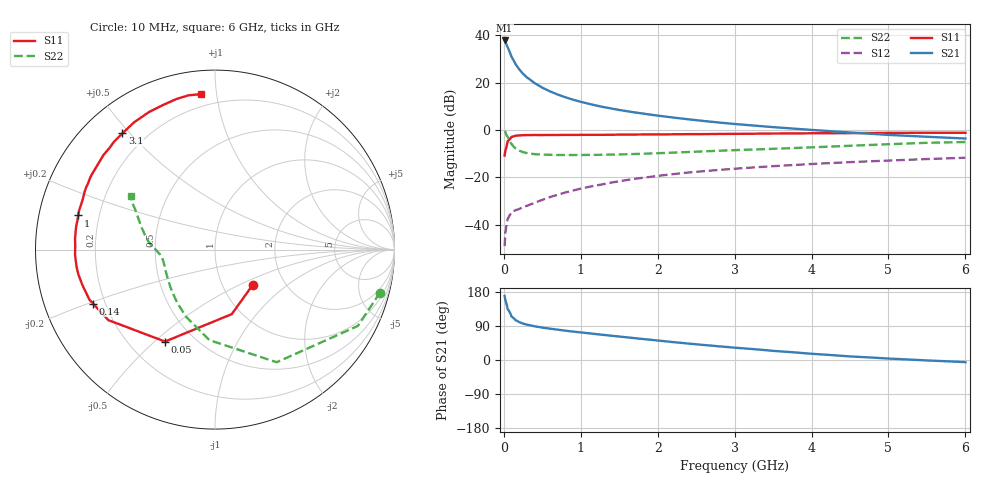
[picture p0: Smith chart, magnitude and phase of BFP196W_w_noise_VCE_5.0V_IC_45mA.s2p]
! Infineon Technologies  Discrete & RF Semiconductors
! BFP196W
! VCE =  5.0 V,  IC =  45 mA
! Common Emitter S-Parameters:  Jan 2017
# GHz  S  MA  R  50
!  f  S11  S21  S12  S22
! GHz  MAG  ANG  MAG  ANG  MAG  ANG  MAG  ANG
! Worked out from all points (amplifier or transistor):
!   77 points, 10 MHz to 6 GHz, reference 50 ohm
!   highest |S21| = 37.8 dB at 10 MHz (marker M1)
!   |S21| within 3 dB of that: start of sweep to 51.63 MHz
!   unconditionally stable (mu >= 1): 695.6 MHz to 3.282 GHz
!   at 130 MHz: K = 0.40, MSG = 31.8 dB, |S12| = -34.3 dB
!   at 2.2 GHz: K = 1.04, MAG = 10.7 dB, |S12| = -18.7 dB
!   at 6 GHz: K = 0.94, MSG = 4.1 dB, |S12| = -11.7 dB
!   lowest NFmin = 1.31 dB at 450 MHz
!   S11 on the Smith chart (normalised r, x): 10 MHz: 1.38, -0.59; 50 MHz: 0.35, -0.54; 140 MHz: 0.15, -0.21; 1 GHz: 0.12, +0.12; 3.1 GHz: 0.12, +0.48; 6 GHz: 0.13, +0.91
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0.01  0.2879 -43.3  77.67 169.1  0.0035 80.4  0.9502 -14.6
0.02  0.3714 -75.4  73.51 157.9  0.0068 75.9  0.9025 -28.1
0.05  0.5828 -118.5  55.73 134.1  0.0132 52.1  0.7155 -61.3
0.1  0.7125 -146.5  35.17 114.7  0.018 42.5  0.5053 -93.6
0.14  0.7428 -156.1  26.88 108.0  0.0197 40.8  0.4239 -108.4
0.15  0.7534 -158.3  24.89 105.6  0.0201 40.4  0.409 -112.9
0.2  0.7651 -165.2  19.03 99.9  0.0213 42.5  0.3648 -125.0
0.25  0.7737 -169.7  15.37 96.0  0.0237 43.0  0.3386 -133.9
0.3  0.7775 -173.1  12.87 93.3  0.0249 45.8  0.3237 -140.4
0.4  0.7803 -178.0  9.745 88.8  0.0288 50.7  0.3081 -149.1
0.5  0.779 178.4  7.805 85.5  0.0333 54.0  0.3011 -154.8
0.6  0.7822 175.5  6.529 82.6  0.0382 56.4  0.2983 -158.9
0.7  0.7826 173.1  5.593 80.1  0.0426 58.6  0.2954 -161.8
0.8  0.7844 170.4  4.901 77.4  0.0478 59.9  0.2952 -164.0
1  0.7857 166.0  3.931 72.8  0.0575 60.9  0.2952 -167.5
1.1  0.7879 164.0  3.581 70.6  0.0624 61.6  0.2966 -168.8
1.5  0.7946 156.1  2.64 61.9  0.0822 60.7  0.3041 -173.6
2.1  0.8063 144.7  1.914 49.4  0.1116 57.1  0.3268 -179.3
3.1  0.8279 128.5  1.295 31.0  0.1554 48.9  0.3787 172.0
4.1  0.8506 114.3  0.976 15.1  0.1941 40.7  0.4351 161.9
5.1  0.8669 103.4  0.771 2.9  0.2286 32.6  0.5059 152.5
6  0.8698 95.0  0.658 -5.7  0.2587 25.7  0.5553 147.6
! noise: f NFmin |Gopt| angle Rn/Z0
0.45  1.31  0.5  -177  0.05
0.9  1.44  0.54  -172  0.07
1.9  2.26  0.69  -150  0.15
2.4  2.66  0.73  -145  0.25
